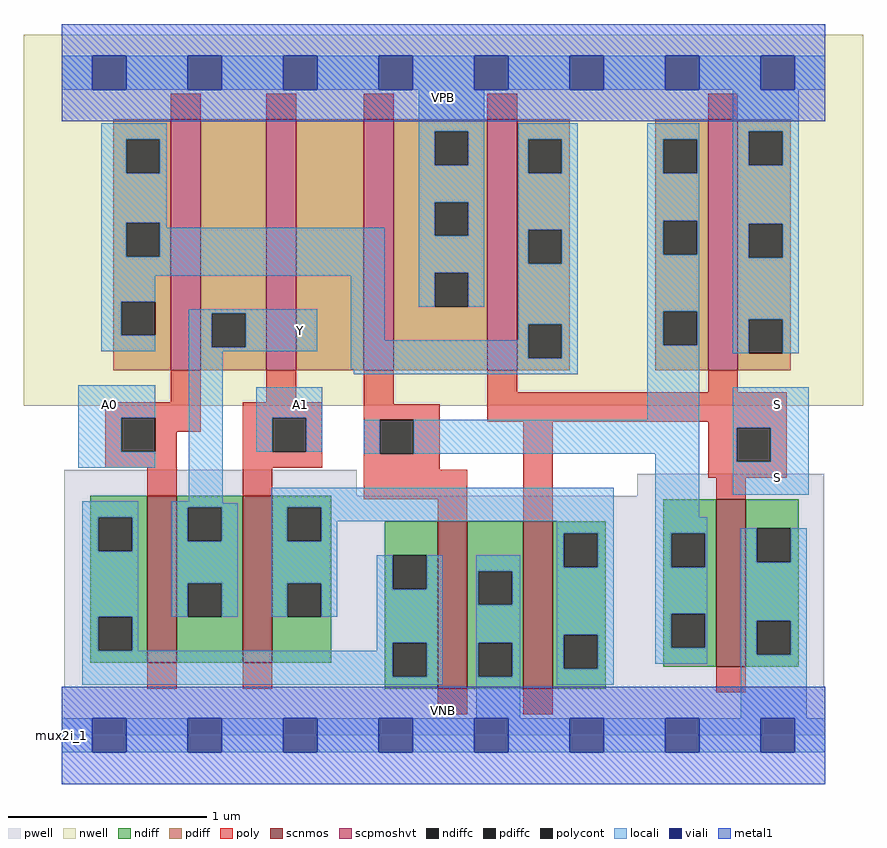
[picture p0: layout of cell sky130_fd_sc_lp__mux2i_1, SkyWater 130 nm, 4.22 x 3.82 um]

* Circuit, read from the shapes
.subckt sky130_fd_sc_lp__mux2i_1 A0 A1 S VGND VNB VPB VPWR Y
XM1 Y A0 n1 VNB sky130_fd_pr__nfet_01v8 w=0.84 l=0.15
XM2 n2 A1 Y VNB sky130_fd_pr__nfet_01v8 w=0.84 l=0.15
XM3 VGND n3 n1 VNB sky130_fd_pr__nfet_01v8 w=0.84 l=0.15
XM4 n2 S VGND VNB sky130_fd_pr__nfet_01v8 w=0.84 l=0.15
XM5 VGND S n3 VNB sky130_fd_pr__nfet_01v8 w=0.84 l=0.15
XM6 Y A0 n4 VPB sky130_fd_pr__pfet_01v8_hvt w=1.26 l=0.15
XM7 n5 A1 Y VPB sky130_fd_pr__pfet_01v8_hvt w=1.26 l=0.15
XM8 VPWR n3 n5 VPB sky130_fd_pr__pfet_01v8_hvt w=1.26 l=0.15
XM9 n4 S VPWR VPB sky130_fd_pr__pfet_01v8_hvt w=1.26 l=0.15
XM10 VPWR S n3 VPB sky130_fd_pr__pfet_01v8_hvt w=1.26 l=0.15
.ends

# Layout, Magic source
magic
tech sky130A
magscale 1 2
<< nwell >>
rect -38 331 806 704
<< pwell >>
rect 3 241 297 267
rect 579 241 767 263
rect 3 49 767 241
rect 0 0 768 49
<< scnmos >>
rect 86 73 116 241
rect 182 73 212 241
rect 378 47 408 215
rect 464 47 494 215
rect 658 69 688 237
<< scpmoshvt >>
rect 110 367 140 619
rect 206 367 236 619
rect 304 367 334 619
rect 428 367 458 619
rect 650 367 680 619
<< ndiff >>
rect 29 219 86 241
rect 29 185 37 219
rect 71 185 86 219
rect 29 119 86 185
rect 29 85 37 119
rect 71 85 86 119
rect 29 73 86 85
rect 116 229 182 241
rect 116 195 127 229
rect 161 195 182 229
rect 116 153 182 195
rect 116 119 127 153
rect 161 119 182 153
rect 116 73 182 119
rect 212 229 271 241
rect 212 195 227 229
rect 261 195 271 229
rect 212 153 271 195
rect 212 119 227 153
rect 261 119 271 153
rect 212 73 271 119
rect 325 181 378 215
rect 325 147 333 181
rect 367 147 378 181
rect 325 93 378 147
rect 325 59 333 93
rect 367 59 378 93
rect 325 47 378 59
rect 408 165 464 215
rect 408 131 419 165
rect 453 131 464 165
rect 408 93 464 131
rect 408 59 419 93
rect 453 59 464 93
rect 408 47 464 59
rect 494 203 547 215
rect 494 169 505 203
rect 539 169 547 203
rect 494 101 547 169
rect 494 67 505 101
rect 539 67 547 101
rect 605 203 658 237
rect 605 169 613 203
rect 647 169 658 203
rect 605 122 658 169
rect 605 88 613 122
rect 647 88 658 122
rect 605 69 658 88
rect 688 208 741 237
rect 688 174 699 208
rect 733 174 741 208
rect 688 115 741 174
rect 688 81 699 115
rect 733 81 741 115
rect 688 69 741 81
rect 494 47 547 67
<< pdiff >>
rect 52 599 110 619
rect 52 565 65 599
rect 99 565 110 599
rect 52 515 110 565
rect 52 481 65 515
rect 99 481 110 515
rect 52 436 110 481
rect 52 402 60 436
rect 94 402 110 436
rect 52 367 110 402
rect 140 424 206 619
rect 140 390 151 424
rect 185 390 206 424
rect 140 367 206 390
rect 236 367 304 619
rect 334 607 428 619
rect 334 573 375 607
rect 409 573 428 607
rect 334 536 428 573
rect 334 502 375 536
rect 409 502 428 536
rect 334 465 428 502
rect 334 431 375 465
rect 409 431 428 465
rect 334 367 428 431
rect 458 599 511 619
rect 458 565 469 599
rect 503 565 511 599
rect 458 508 511 565
rect 458 474 469 508
rect 503 474 511 508
rect 458 413 511 474
rect 458 379 469 413
rect 503 379 511 413
rect 458 367 511 379
rect 597 599 650 619
rect 597 565 605 599
rect 639 565 650 599
rect 597 517 650 565
rect 597 483 605 517
rect 639 483 650 517
rect 597 426 650 483
rect 597 392 605 426
rect 639 392 650 426
rect 597 367 650 392
rect 680 607 733 619
rect 680 573 691 607
rect 725 573 733 607
rect 680 514 733 573
rect 680 480 691 514
rect 725 480 733 514
rect 680 418 733 480
rect 680 384 691 418
rect 725 384 733 418
rect 680 367 733 384
<< ndiffc >>
rect 37 185 71 219
rect 37 85 71 119
rect 127 195 161 229
rect 127 119 161 153
rect 227 195 261 229
rect 227 119 261 153
rect 333 147 367 181
rect 333 59 367 93
rect 419 131 453 165
rect 419 59 453 93
rect 505 169 539 203
rect 505 67 539 101
rect 613 169 647 203
rect 613 88 647 122
rect 699 174 733 208
rect 699 81 733 115
<< pdiffc >>
rect 65 565 99 599
rect 65 481 99 515
rect 60 402 94 436
rect 151 390 185 424
rect 375 573 409 607
rect 375 502 409 536
rect 375 431 409 465
rect 469 565 503 599
rect 469 474 503 508
rect 469 379 503 413
rect 605 565 639 599
rect 605 483 639 517
rect 605 392 639 426
rect 691 573 725 607
rect 691 480 725 514
rect 691 384 725 418
<< poly >>
rect 110 619 140 645
rect 206 619 236 645
rect 304 619 334 645
rect 428 619 458 645
rect 650 619 680 645
rect 110 335 140 367
rect 206 335 236 367
rect 44 319 140 335
rect 44 285 60 319
rect 94 305 140 319
rect 182 319 262 335
rect 94 285 116 305
rect 44 269 116 285
rect 86 241 116 269
rect 182 285 212 319
rect 246 285 262 319
rect 182 269 262 285
rect 304 333 334 367
rect 428 345 458 367
rect 650 345 680 367
rect 304 317 380 333
rect 304 283 320 317
rect 354 283 380 317
rect 428 315 729 345
rect 182 241 212 269
rect 304 267 380 283
rect 304 237 408 267
rect 378 215 408 237
rect 464 215 494 315
rect 650 309 729 315
rect 650 275 679 309
rect 713 275 729 309
rect 650 259 729 275
rect 658 237 688 259
rect 86 47 116 73
rect 182 47 212 73
rect 378 21 408 47
rect 464 21 494 47
rect 658 43 688 69
<< polycont >>
rect 60 285 94 319
rect 212 285 246 319
rect 320 283 354 317
rect 679 275 713 309
<< locali >>
rect 0 649 31 683
rect 65 649 127 683
rect 161 649 223 683
rect 257 649 319 683
rect 353 649 415 683
rect 449 649 511 683
rect 545 649 607 683
rect 641 649 703 683
rect 737 649 768 683
rect 40 599 106 615
rect 40 565 65 599
rect 99 565 106 599
rect 40 515 106 565
rect 40 481 65 515
rect 99 510 106 515
rect 359 607 425 649
rect 359 573 375 607
rect 409 573 425 607
rect 359 536 425 573
rect 99 481 325 510
rect 40 462 325 481
rect 40 436 94 462
rect 40 402 60 436
rect 40 386 94 402
rect 128 424 257 428
rect 128 390 151 424
rect 185 390 257 424
rect 128 386 257 390
rect 291 397 325 462
rect 359 502 375 536
rect 409 502 425 536
rect 359 465 425 502
rect 359 431 375 465
rect 409 431 425 465
rect 459 599 519 615
rect 459 565 469 599
rect 503 565 519 599
rect 459 508 519 565
rect 459 474 469 508
rect 503 474 519 508
rect 459 413 519 474
rect 459 397 469 413
rect 17 319 94 352
rect 17 285 60 319
rect 17 269 94 285
rect 128 235 162 386
rect 291 379 469 397
rect 503 379 519 413
rect 291 368 519 379
rect 294 363 519 368
rect 589 599 641 615
rect 589 565 605 599
rect 639 565 641 599
rect 589 517 641 565
rect 589 483 605 517
rect 639 483 641 517
rect 589 426 641 483
rect 589 392 605 426
rect 639 392 641 426
rect 196 319 262 350
rect 196 285 212 319
rect 246 285 262 319
rect 589 317 641 392
rect 675 607 741 649
rect 675 573 691 607
rect 725 573 741 607
rect 675 514 741 573
rect 675 480 691 514
rect 725 480 741 514
rect 675 418 741 480
rect 675 384 691 418
rect 725 384 741 418
rect 304 283 320 317
rect 354 283 641 317
rect 21 219 77 235
rect 21 185 37 219
rect 71 185 77 219
rect 21 119 77 185
rect 111 233 162 235
rect 111 229 177 233
rect 111 195 127 229
rect 161 195 177 229
rect 111 153 177 195
rect 111 119 127 153
rect 161 119 177 153
rect 211 229 555 249
rect 211 195 227 229
rect 261 215 555 229
rect 261 195 277 215
rect 211 153 277 195
rect 498 203 555 215
rect 211 119 227 153
rect 261 119 277 153
rect 317 147 333 181
rect 367 147 383 181
rect 21 85 37 119
rect 71 85 77 119
rect 317 93 383 147
rect 317 85 333 93
rect 21 59 333 85
rect 367 59 383 93
rect 21 51 383 59
rect 417 165 461 181
rect 417 131 419 165
rect 453 131 461 165
rect 417 93 461 131
rect 417 59 419 93
rect 453 59 461 93
rect 417 17 461 59
rect 498 169 505 203
rect 539 169 555 203
rect 498 101 555 169
rect 498 67 505 101
rect 539 67 555 101
rect 597 219 641 283
rect 675 309 751 350
rect 675 275 679 309
rect 713 275 751 309
rect 675 242 751 275
rect 597 203 649 219
rect 597 169 613 203
rect 647 169 649 203
rect 597 122 649 169
rect 597 88 613 122
rect 647 88 649 122
rect 597 72 649 88
rect 683 174 699 208
rect 733 174 749 208
rect 683 115 749 174
rect 683 81 699 115
rect 733 81 749 115
rect 498 51 555 67
rect 683 17 749 81
rect 0 -17 31 17
rect 65 -17 127 17
rect 161 -17 223 17
rect 257 -17 319 17
rect 353 -17 415 17
rect 449 -17 511 17
rect 545 -17 607 17
rect 641 -17 703 17
rect 737 -17 768 17
<< viali >>
rect 31 649 65 683
rect 127 649 161 683
rect 223 649 257 683
rect 319 649 353 683
rect 415 649 449 683
rect 511 649 545 683
rect 607 649 641 683
rect 703 649 737 683
rect 31 -17 65 17
rect 127 -17 161 17
rect 223 -17 257 17
rect 319 -17 353 17
rect 415 -17 449 17
rect 511 -17 545 17
rect 607 -17 641 17
rect 703 -17 737 17
<< metal1 >>
rect 0 683 768 715
rect 0 649 31 683
rect 65 649 127 683
rect 161 649 223 683
rect 257 649 319 683
rect 353 649 415 683
rect 449 649 511 683
rect 545 649 607 683
rect 641 649 703 683
rect 737 649 768 683
rect 0 617 768 649
rect 0 17 768 49
rect 0 -17 31 17
rect 65 -17 127 17
rect 161 -17 223 17
rect 257 -17 319 17
rect 353 -17 415 17
rect 449 -17 511 17
rect 545 -17 607 17
rect 641 -17 703 17
rect 737 -17 768 17
rect 0 -49 768 -17
<< labels >>
flabel pwell s 0 0 768 49 0 FreeSans 200 0 0 0 VNB
port 5 nsew ground bidirectional
flabel nwell s 0 617 768 666 0 FreeSans 200 0 0 0 VPB
port 6 nsew power bidirectional
rlabel comment s 0 0 0 0 4 mux2i_1
flabel metal1 s 0 617 768 666 0 FreeSans 340 0 0 0 VPWR
port 7 nsew power bidirectional
flabel metal1 s 0 0 768 49 0 FreeSans 340 0 0 0 VGND
port 4 nsew ground bidirectional
flabel locali s 703 242 737 276 0 FreeSans 340 0 0 0 S
port 3 nsew signal input
flabel locali s 703 316 737 350 0 FreeSans 340 0 0 0 S
port 3 nsew signal input
flabel locali s 223 390 257 424 0 FreeSans 340 0 0 0 Y
port 8 nsew signal output
flabel locali s 31 316 65 350 0 FreeSans 340 0 0 0 A0
port 1 nsew signal input
flabel locali s 223 316 257 350 0 FreeSans 340 0 0 0 A1
port 2 nsew signal input
<< properties >>
string LEFsite unit
string LEFclass CORE
string FIXED_BBOX 0 0 768 666
string GDS_FILE $PDKPATH/libs.ref/sky130_fd_sc_lp/gds/sky130_fd_sc_lp.gds
string LEFsymmetry X Y R90
string GDS_END 3839984
string GDS_START 3832892
<< end >>
